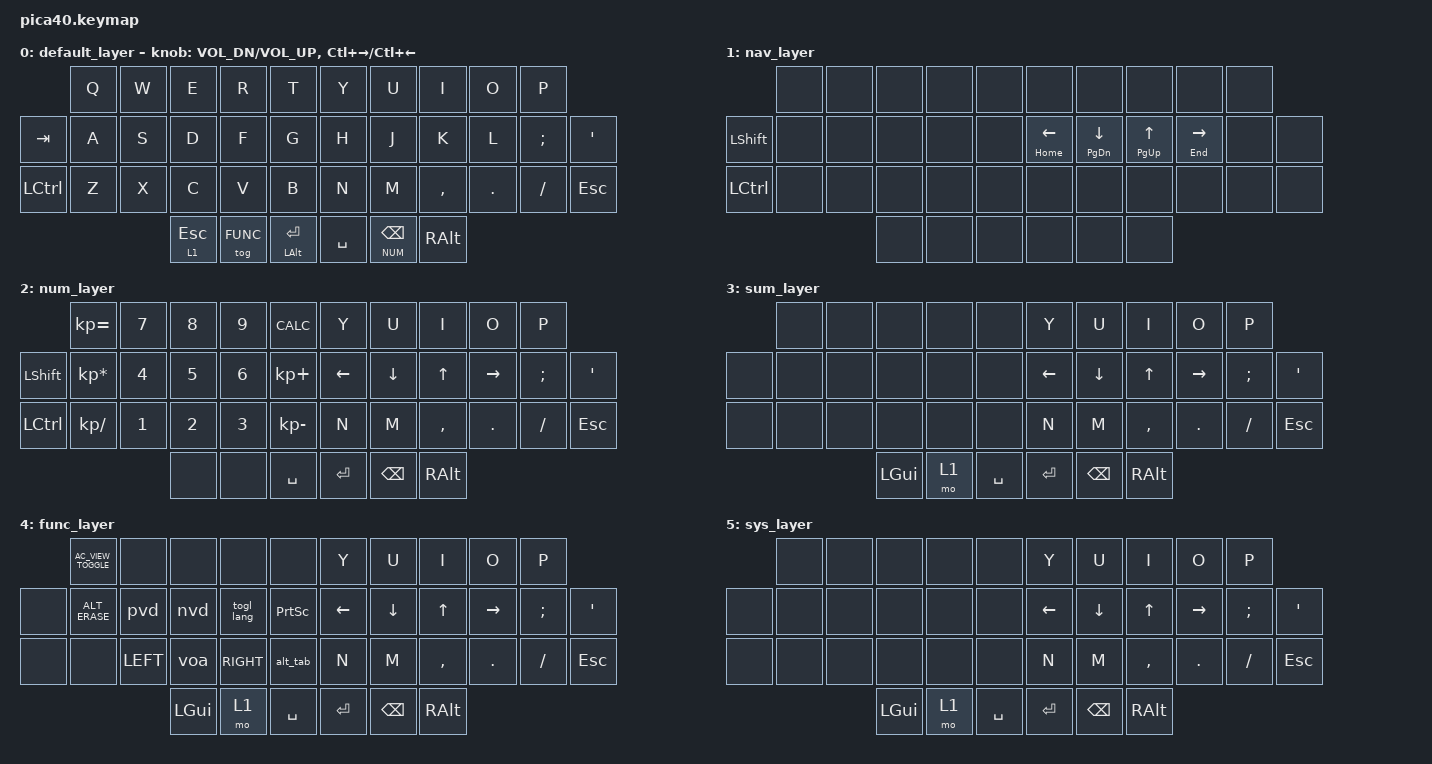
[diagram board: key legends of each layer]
#include <behaviors.dtsi>
#include <dt-bindings/zmk/keys.h>
#include <dt-bindings/zmk/bt.h>
#include <dt-bindings/zmk/outputs.h>
#include <dt-bindings/zmk/ext_power.h>

#define KEYS_L 0 1 2 3 4 10 11 12 13 14 15 22 23 24 25 26 27  // left-hand keys
#define KEYS_R 5 6 7 8 9 16 17 18 19 20 21 28 29 30 31 32 33  // right-hand keys
#define THUMBS 34 35 36 37 38 39


#define QWERTY 0
#define NAV 1
#define NUM 2
#define SYM 3
#define FUNC 4
#define SYS 5

&lt {
    tapping-term-ms = <200>;
};

&mt {
    tapping-term-ms = <150>;
};

/{
    encoders {
        compatible = "zmk,encoders";
        left_encoder: encoder_left {
            bindings = <&inc_dec_kp C_VOL_UP C_VOL_DN>;
        };
        right_encoder: encoder_right {
            bindings = <&inc_dec_kp D S>;
        };
    };

    macros {
        nvd: next_virtual_desctop {
            compatible = "zmk,behavior-macro";
            #binding-cells = <0>;
            bindings = <macro_tap &kp LGUI &kp LCTRL &kp RIGHT>;
        };
        pvd: prev_virtual_desctop {
            compatible = "zmk,behavior-macro";
            #binding-cells = <0>;
            bindings = <macro_tap &kp LGUI &kp LCTRL &kp LEFT>;
        };

        voa: view_open_apps {
            compatible = "zmk,behavior-macro";
            #binding-cells = <0>;
            bindings
                = <macro_tap &kp LCTRL &kp LALT &kp TAB>
                ;
        };

        alt_tab: alt_tab {
            compatible = "zmk,behavior-macro";
            #binding-cells = <0>;
            bindings
                = <macro_tap &kp LALT &kp TAB>
                ;
        };

        togl_lang: togl_lang {
            compatible = "zmk,behavior-macro";
            #binding-cells = <0>;
            bindings
                = <&macro_press &kp LALT>
                , <&macro_tap &kp LSHFT>
                , <&macro_release &kp LALT>
                ;
        };
    };





    keymap {
        compatible = "zmk,keymap";

        default_layer { 
            bindings = <
                        &kp Q       &kp W       &kp E           &kp R               &kp T                &kp Y       &kp U       &kp I       &kp O       &kp P 
            &kp TAB   &kp A       &kp S       &kp D           &kp F        &kp G                &kp H      &kp J       &kp K       &kp L       &kp SEMI    &kp SQT
            &kp LCTRL   &kp Z       &kp X       &kp C           &kp V               &kp B                &kp N       &kp M       &kp COMMA   &kp DOT     &kp FSLH    &kp ESC 
                                                &lt 1 ESC       &tog FUNC           &mt LALT ENTER            &kp SPACE   &lt NUM BSPC    &kp RALT                    
                        >;
                        sensor-bindings = <&inc_dec_kp C_VOL_DN C_VOL_UP &inc_dec_kp LC(RIGHT) LC(LEFT)>;
        };

        nav_layer { 
            bindings = <
                        &none       &none       &none       &none      &none                &none            &none              &none           &none           &none 
            &kp LSHFT   &none       &none       &none       &none      &none                &mt HOME LEFT    &mt PG_DN DOWN     &mt PG_UP UP    &mt END RIGHT   &none     &none 
            &kp LCTRL   &none       &none       &none       &none      &none                &none            &none              &none           &none           &none     &none  
                                                &none       &none      &none                &none            &none              &none                     
                        >;
        };

        num_layer { 
            bindings = <
                            &kp KP_EQUAL        &kp N7       &kp N8       &kp N9      &kp K_CALC           &kp Y       &kp U       &kp I       &kp O       &kp P 
            &kp LSHFT       &kp KP_MULTIPLY     &kp N4       &kp N5       &kp N6      &kp KP_PLUS                &kp LEFT    &kp DOWN    &kp UP      &kp RIGHT   &kp SEMI    &kp SQT
            &kp LCTRL       &kp KP_DIVIDE       &kp N1       &kp N2       &kp N3      &kp KP_MINUS               &kp N       &kp M       &kp COMMA   &kp DOT     &kp FSLH    &kp ESC 
                                                             &none        &none       &kp SPACE            &kp ENTER   &kp BSPC    &kp RALT                    
                        >;
        };

        sum_layer { 
            bindings = <
                        &none       &none       &none       &none      &none                &kp Y       &kp U       &kp I       &kp O       &kp P 
            &none       &none       &none       &none       &none      &none                &kp LEFT    &kp DOWN    &kp UP      &kp RIGHT   &kp SEMI    &kp SQT
            &none       &none       &none       &none       &none      &none                &kp N       &kp M       &kp COMMA   &kp DOT     &kp FSLH    &kp ESC 
                                                &kp LGUI    &mo 1      &kp SPACE            &kp ENTER   &kp BSPC    &kp RALT                    
                        >;
        };

        func_layer { 
            bindings = <
                        &kp C_AC_VIEW_TOGGLE    &none               &none           &none           &none                &kp Y       &kp U       &kp I       &kp O       &kp P 
            &none       &kp ALT_ERASE           &pvd                &nvd            &togl_lang      &kp PSCRN            &kp LEFT    &kp DOWN    &kp UP      &kp RIGHT   &kp SEMI    &kp SQT
            &none       &none                   &LEFT               &voa            &RIGHT          &alt_tab             &kp N       &kp M       &kp COMMA   &kp DOT     &kp FSLH    &kp ESC 
                                                                    &kp LGUI        &mo 1           &kp SPACE            &kp ENTER   &kp BSPC    &kp RALT                    
                        >;
        };

        sys_layer { 
            bindings = <
                        &none       &none       &none       &none      &none                &kp Y       &kp U       &kp I       &kp O       &kp P 
            &none       &none       &none       &none       &none      &none                &kp LEFT    &kp DOWN    &kp UP      &kp RIGHT   &kp SEMI    &kp SQT
            &none       &none       &none       &none       &none      &none                &kp N       &kp M       &kp COMMA   &kp DOT     &kp FSLH    &kp ESC 
                                                &kp LGUI    &mo 1      &kp SPACE            &kp ENTER   &kp BSPC    &kp RALT                    
                        >;
        };
        
    };
};
